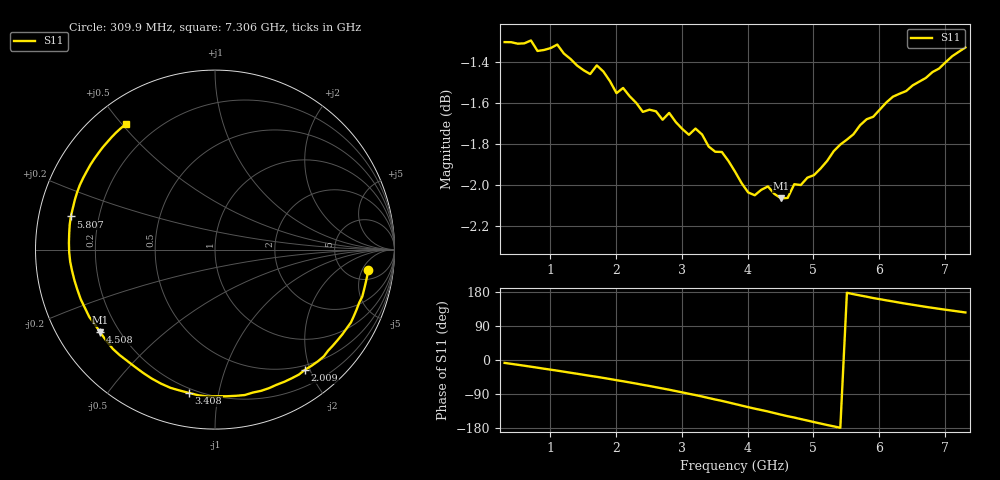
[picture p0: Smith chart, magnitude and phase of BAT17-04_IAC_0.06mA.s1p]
! Infineon Technologies  Discrete & RF Semiconductors
! BAT17-04
! IAC = 0.06 mA
! One-Port S-Parameters
# Hz  S  MA  R  50
!f  S11
!Hz  Mag  Ang
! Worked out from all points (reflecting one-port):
!   71 points, 309.9 MHz to 7.306 GHz, reference 50 ohm
!   lowest |S11| = -2.1 dB at 4.508 GHz (marker M1), VSWR 8.45, Z = 6.52 - j15.8 ohm
!   phase of S11 starts at -8 deg and turns -227 deg over the sweep
!   S11 on the Smith chart (normalised r, x): 309.9 MHz: 7.46, -6.59; 2.009 GHz: 0.43, -1.92; 3.408 GHz: 0.17, -0.82; 4.508 GHz: 0.13, -0.32; 5.807 GHz: 0.10, +0.11; 7.306 GHz: 0.10, +0.51
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3.0985e8  0.8605 -7.7
7.0965e8  0.8612 -17.7
1.10945e9  0.8593 -28.1
1.2094e9  0.855 -30.8
1.70915e9  0.8493 -44.4
2.009e9  0.8362 -53.3
2.10895e9  0.8387 -56.1
2.6087e9  0.8278 -71.8
2.8086e9  0.827 -78.4
3.0085e9  0.8196 -85.5
3.2084e9  0.8198 -92.5
3.4083e9  0.8116 -100.4
3.6082e9  0.8091 -107.9
3.8081e9  0.8003 -116.1
4.008e9  0.791 -124.4
4.30785e9  0.7937 -135.8
4.50775e9  0.7884 -144.3
4.70765e9  0.7947 -151.8
4.90755e9  0.7976 -159.8
5.2074e9  0.8051 -171.5
5.4073e9  0.8125 -178.9
5.6072e9  0.8172 173.7
5.8071e9  0.8241 167.1
5.90705e9  0.8253 163.5
6.2069e9  0.8346 154.5
6.50675e9  0.8399 145.7
6.90655e9  0.8478 135.1
7.30635e9  0.8579 125.4
